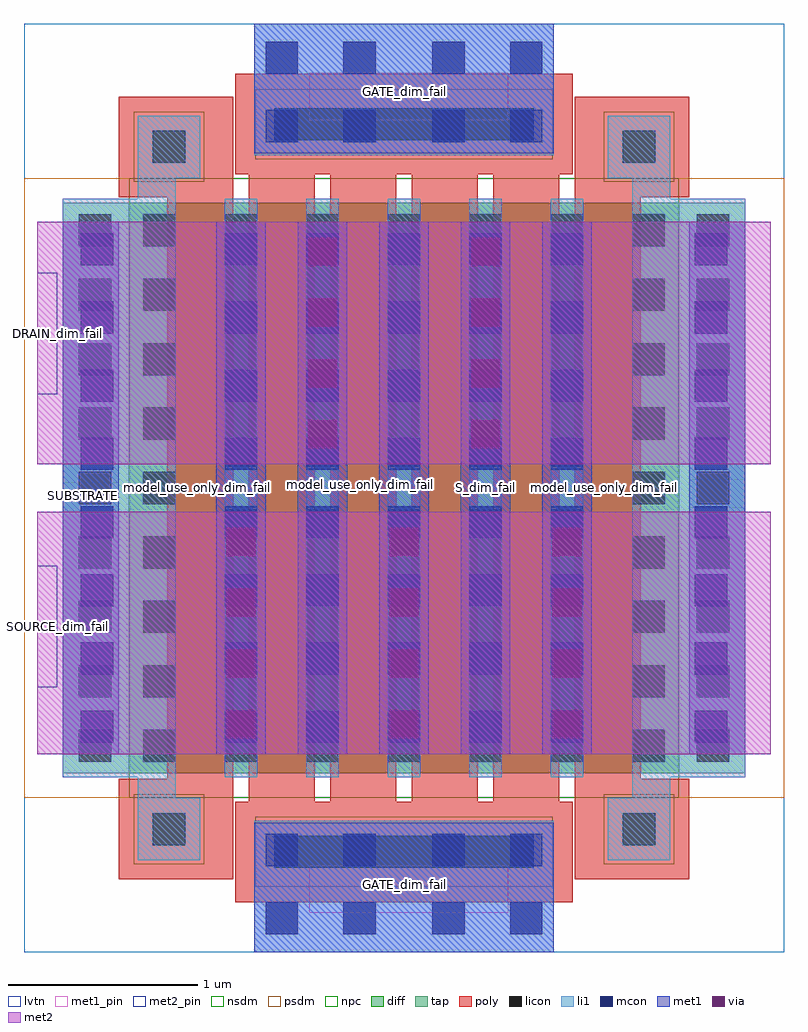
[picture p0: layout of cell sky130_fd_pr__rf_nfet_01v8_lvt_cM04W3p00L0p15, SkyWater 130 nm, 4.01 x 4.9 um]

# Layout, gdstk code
import gdstk
lib = gdstk.Library(unit=1e-6, precision=1e-09)
def R(c, l, rs):  # rectangles x0, y0, x1, y1
    for r in rs: c.add(gdstk.rectangle(r[:2], r[2:], *l))
def A(c, l, x, y, w, h, nx, ny, dx, dy):  # array of equal rectangles
    R(c, l, [(x+i*dx, y+j*dy, x+i*dx+w, y+j*dy+h) for i in range(nx) for j in range(ny)])
def P(c, l, *ps):  # polygons
    for p in ps: c.add(gdstk.Polygon(p, *l))
diff = (65, 20)
tap = (65, 44)
poly = (66, 20)
licon = (66, 44)
li1 = (67, 20)
mcon = (67, 44)
met1_pin = (68, 16)
met1 = (68, 20)
via = (68, 44)
met2_pin = (69, 16)
met2 = (69, 20)
nsdm = (93, 44)
psdm = (94, 20)
npc = (95, 20)
lvtn = (125, 44)

sky130_fd_pr__rf_nfet_01 = lib.new_cell('sky130_fd_pr__rf_nfet_01v8_lvt_cM04W3p00L0p15')
R(sky130_fd_pr__rf_nfet_01, diff, [(0.555,0.945,3.455,3.955)])
R(sky130_fd_pr__rf_nfet_01, tap, [(0.205,0.945,0.555,3.955), (3.455,0.945,3.805,3.955)])
P(sky130_fd_pr__rf_nfet_01, poly, [(0.5,0.385),(0.5,0.915),(0.755,0.915),(0.755,3.985),(0.5,3.985),(0.5,4.515),(1.105,4.515),(1.105,0.385)],
  [(2.905,0.385),(2.905,4.515),(3.51,4.515),(3.51,3.985),(3.255,3.985),(3.255,0.915),(3.51,0.915),(3.51,0.385)],
  [(1.115,0.265),(1.115,0.795),(1.185,0.795),(1.185,4.105),(1.535,4.105),(1.535,0.795),(1.615,0.795),(1.615,4.105),(1.965,4.105),(1.965,0.795),(2.045,0.795),(2.045,4.105),(2.395,4.105),(2.395,0.795),(2.475,0.795),(2.475,4.105),(1.115,4.105),(1.115,4.635),(2.895,4.635),(2.895,4.105),(2.825,4.105),(2.825,0.795),(2.895,0.795),(2.895,0.265)])
A(sky130_fd_pr__rf_nfet_01, licon, 0.29, 1.005, 0.17, 0.17, 1, 9, 0, 0.34)
A(sky130_fd_pr__rf_nfet_01, licon, 0.63, 1.005, 0.17, 0.17, 1, 9, 0, 0.34)
A(sky130_fd_pr__rf_nfet_01, licon, 1.06, 1.005, 0.17, 1.33, 5, 2, 0.43, 1.56)
A(sky130_fd_pr__rf_nfet_01, licon, 3.21, 1.005, 0.17, 0.17, 1, 9, 0, 0.34)
A(sky130_fd_pr__rf_nfet_01, licon, 3.55, 1.005, 0.17, 0.17, 1, 9, 0, 0.34)
R(sky130_fd_pr__rf_nfet_01, licon, [(1.32,0.445,2.69,0.615), (0.68,0.565,0.85,0.735), (3.16,0.565,3.33,0.735), (0.68,4.165,0.85,4.335), (3.16,4.165,3.33,4.335), (1.32,4.285,2.69,4.455)])
A(sky130_fd_pr__rf_nfet_01, li1, 1.06, 0.925, 0.17, 3.05, 5, 1, 0.43, 0)
A(sky130_fd_pr__rf_nfet_01, li1, 1.06, 1.105, 0.17, 2.69, 5, 1, 0.43, 0)
R(sky130_fd_pr__rf_nfet_01, li1, [(1.215,0,2.795,0.695), (0.6,0.485,0.93,0.815), (3.08,0.485,3.41,0.815), (0.6,0.815,0.8,0.925), (3.21,0.815,3.41,0.925), (0.205,0.925,0.8,3.975), (3.21,0.925,3.805,3.975), (0.6,3.975,0.8,4.085), (3.21,3.975,3.41,4.085), (0.6,4.085,0.93,4.415), (3.08,4.085,3.41,4.415), (1.215,4.205,2.795,4.9)])
A(sky130_fd_pr__rf_nfet_01, mcon, 0.3, 1.105, 0.17, 0.17, 1, 8, 0, 0.36)
A(sky130_fd_pr__rf_nfet_01, mcon, 1.06, 1.105, 0.17, 0.17, 5, 8, 0.43, 0.36)
A(sky130_fd_pr__rf_nfet_01, mcon, 3.54, 1.105, 0.17, 0.17, 1, 8, 0, 0.36)
R(sky130_fd_pr__rf_nfet_01, mcon, [(1.275,0.095,1.445,0.265), (1.685,0.095,1.855,0.265), (2.155,0.095,2.325,0.265), (2.565,0.095,2.735,0.265), (1.275,0.455,1.445,0.625), (1.685,0.455,1.855,0.625), (2.155,0.455,2.325,0.625), (2.565,0.455,2.735,0.625), (1.275,4.275,1.445,4.445), (1.685,4.275,1.855,4.445), (2.155,4.275,2.325,4.445), (2.565,4.275,2.735,4.445), (1.275,4.635,1.445,4.805), (1.685,4.635,1.855,4.805), (2.155,4.635,2.325,4.805), (2.565,4.635,2.735,4.805)])
R(sky130_fd_pr__rf_nfet_01, met1_pin, [(1.505,0.21,2.555,0.46), (0.205,2.33,0.5,2.48), (3.51,2.345,3.805,2.495), (1.505,4.39,2.555,4.64)])
A(sky130_fd_pr__rf_nfet_01, met1, 1.015, 1.045, 0.26, 2.81, 5, 1, 0.43, 0)
A(sky130_fd_pr__rf_nfet_01, met1, 1.015, 1.045, 0.26, 1.28, 3, 1, 0.86, 0)
R(sky130_fd_pr__rf_nfet_01, met1, [(1.215,0,2.795,0.685), (0.205,1.045,0.5,3.855), (3.51,1.045,3.805,3.855), (1.445,2.575,1.705,3.855), (2.305,2.575,2.565,3.855), (1.215,4.215,2.795,4.9)])
A(sky130_fd_pr__rf_nfet_01, via, 1.07, 1.13, 0.15, 0.15, 3, 4, 0.86, 0.32)
A(sky130_fd_pr__rf_nfet_01, via, 1.5, 2.66, 0.15, 0.15, 1, 4, 0, 0.32)
A(sky130_fd_pr__rf_nfet_01, via, 2.36, 2.66, 0.15, 0.15, 1, 4, 0, 0.32)
R(sky130_fd_pr__rf_nfet_01, met2_pin, [(0.07,1.4,0.175,2.04), (0.07,2.945,0.175,3.585)])
A(sky130_fd_pr__rf_nfet_01, met2, 1.015, 1.045, 0.26, 1.28, 3, 1, 0.86, 0)
R(sky130_fd_pr__rf_nfet_01, met2, [(0.07,1.045,3.94,2.325), (0.07,2.575,3.94,3.855), (1.445,2.575,1.705,3.855), (2.305,2.575,2.565,3.855)])
R(sky130_fd_pr__rf_nfet_01, nsdm, [(0.555,0.815,3.455,4.085)])
R(sky130_fd_pr__rf_nfet_01, psdm, [(0,0.815,0.555,4.085), (3.455,0.815,4.01,4.085)])
R(sky130_fd_pr__rf_nfet_01, npc, [(1.22,0.345,2.79,0.715), (0.58,0.465,0.95,0.835), (3.06,0.465,3.43,0.835), (0.58,4.065,0.95,4.435), (3.06,4.065,3.43,4.435), (1.22,4.185,2.79,4.555)])
R(sky130_fd_pr__rf_nfet_01, lvtn, [(0,0,4.01,4.9)])
sky130_fd_pr__rf_nfet_01.add(gdstk.Label('GATE_dim_fail', (2.005,4.54), layer=68, texttype=5))
sky130_fd_pr__rf_nfet_01.add(gdstk.Label('GATE_dim_fail', (2.005,0.36), layer=68, texttype=5))
sky130_fd_pr__rf_nfet_01.add(gdstk.Label('model_use_only_dim_fail', (3.065,2.45), layer=66, texttype=83))
sky130_fd_pr__rf_nfet_01.add(gdstk.Label('model_use_only_dim_fail', (0.915,2.45), layer=66, texttype=83))
sky130_fd_pr__rf_nfet_01.add(gdstk.Label('model_use_only_dim_fail', (1.775,2.47), layer=66, texttype=83))
sky130_fd_pr__rf_nfet_01.add(gdstk.Label('model_use_only_dim_fail', (2.2,2.49), layer=66, texttype=83))
sky130_fd_pr__rf_nfet_01.add(gdstk.Label('model_use_only_dim_fail', (2.66,2.505), layer=66, texttype=83))
sky130_fd_pr__rf_nfet_01.add(gdstk.Label('model_use_only_dim_fail', (1.33,2.47), layer=66, texttype=83))
sky130_fd_pr__rf_nfet_01.add(gdstk.Label('SUBSTRATE', (0.315,2.41), layer=68, texttype=16))
sky130_fd_pr__rf_nfet_01.add(gdstk.Label('SUBSTRATE', (3.62,2.425), layer=68, texttype=16))
sky130_fd_pr__rf_nfet_01.add(gdstk.Label('S_dim_fail', (1.145,2.45), layer=83, texttype=44))
sky130_fd_pr__rf_nfet_01.add(gdstk.Label('S_dim_fail', (1.575,2.45), layer=83, texttype=44))
sky130_fd_pr__rf_nfet_01.add(gdstk.Label('S_dim_fail', (2.005,2.45), layer=83, texttype=44))
sky130_fd_pr__rf_nfet_01.add(gdstk.Label('S_dim_fail', (2.435,2.45), layer=83, texttype=44))
sky130_fd_pr__rf_nfet_01.add(gdstk.Label('S_dim_fail', (1.145,2.45), layer=83, texttype=44))
sky130_fd_pr__rf_nfet_01.add(gdstk.Label('D_dim_fail', (1.575,2.45), layer=83, texttype=44))
sky130_fd_pr__rf_nfet_01.add(gdstk.Label('S_dim_fail', (2.005,2.45), layer=83, texttype=44))
sky130_fd_pr__rf_nfet_01.add(gdstk.Label('D_dim_fail', (2.435,2.45), layer=83, texttype=44))
sky130_fd_pr__rf_nfet_01.add(gdstk.Label('S_dim_fail', (2.865,2.45), layer=83, texttype=44))
sky130_fd_pr__rf_nfet_01.add(gdstk.Label('dummy_poly_dim_fail', (0.91,2.48), layer=83, texttype=44))
sky130_fd_pr__rf_nfet_01.add(gdstk.Label('dummy_poly_dim_fail', (3.065,2.44), layer=83, texttype=44))
sky130_fd_pr__rf_nfet_01.add(gdstk.Label('SOURCE_dim_fail', (0.175,1.72), layer=69, texttype=5))
sky130_fd_pr__rf_nfet_01.add(gdstk.Label('DRAIN_dim_fail', (0.175,3.265), layer=69, texttype=5))

lib.write_gds('sky130_fd_pr__rf_nfet_01v8_lvt_cM04W3p00L0p15.gds')
